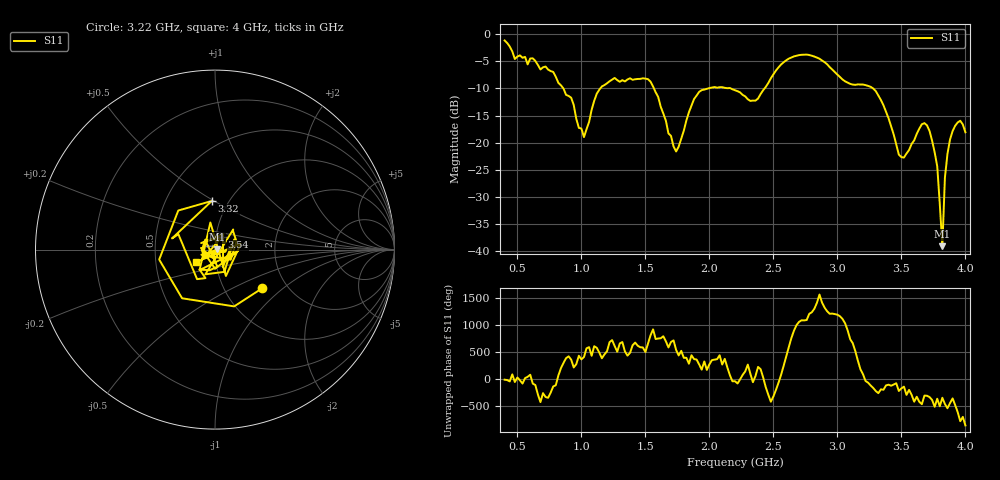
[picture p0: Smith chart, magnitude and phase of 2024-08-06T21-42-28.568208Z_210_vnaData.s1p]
!Created with skrf (http://scikit-rf.org).
# Hz S RI R 50.0
!freq ReS11 ImS11
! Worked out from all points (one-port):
!   181 points, 400 MHz to 4 GHz, reference 50 ohm
!   lowest |S11| = -39.1 dB at 3.82 GHz (marker M1), VSWR 1.02, Z = 51.1 + j0.161 ohm
!   |S11| at or under -10 dB: 859.7 MHz to 1.147 GHz (287.7 MHz wide, 28.7 % of centre); 1.567 GHz to 1.989 GHz (422.6 MHz wide, 23.8 % of centre); 3.279 GHz to end of sweep (the widest 3 of 4)
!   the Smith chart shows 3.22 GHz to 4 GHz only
!   S11 on the Smith chart (normalised r, x): 3.22 GHz: 1.50, -0.73; 3.32 GHz: 0.83, +0.49; 3.54 GHz: 1.07, +0.15; 4 GHz: 0.80, -0.11
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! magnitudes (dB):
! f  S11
! 400 MHz  -1.1
! 480 MHz  -4.6
! 620 MHz  -4.4
! 860 MHz  -10.0
! 1.02 GHz  -19.0
! 1.14 GHz  -10.2
! 1.3 GHz  -8.8
! 1.54 GHz  -8.7
! 1.72 GHz  -20.7
! 1.76 GHz  -20.7
! 1.92 GHz  -10.6
! 2.2 GHz  -10.3
! 2.36 GHz  -12.2
! 2.66 GHz  -4.1
! 3.1 GHz  -9.2
! 3.22 GHz  -9.4
! 3.32 GHz  -11.3
! 3.48 GHz  -22.2
! 3.54 GHz  -22.0
! 3.56 GHz  -21.4
! 3.66 GHz  -16.6
! 3.72 GHz  -17.9
! 3.78 GHz  -24.4
! 3.82 GHz  -39.1
! 3.84 GHz  -26.5
! 3.88 GHz  -19.4
! 3.96 GHz  -16.0
! 4 GHz  -18.1
